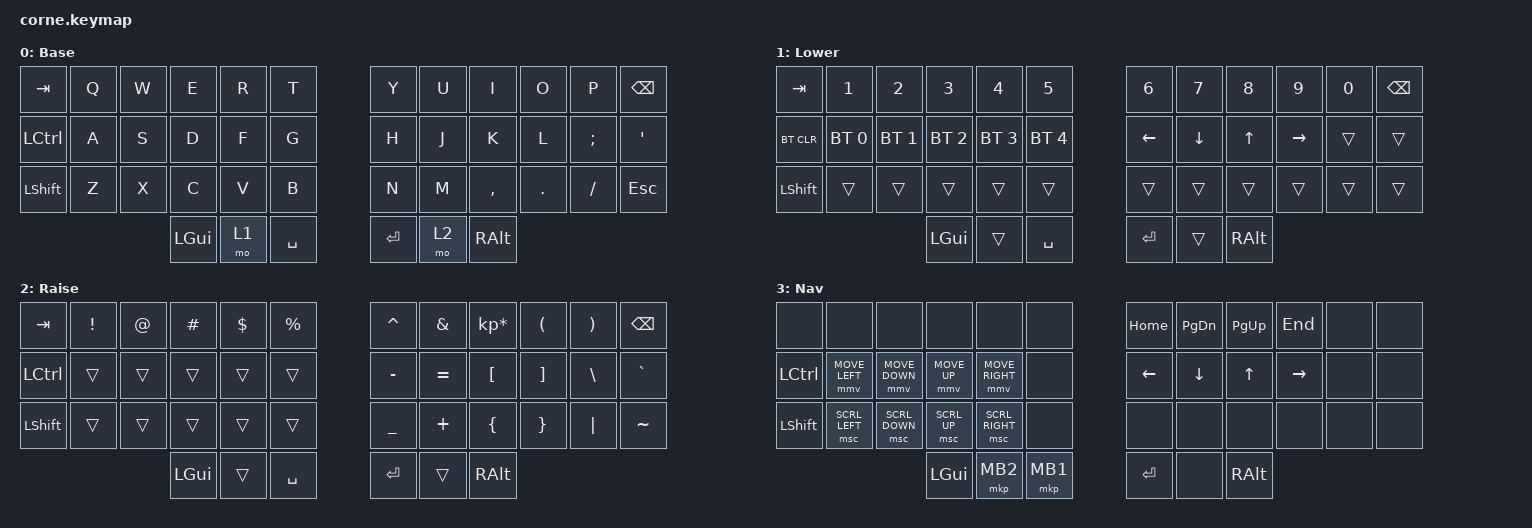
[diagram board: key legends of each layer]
/*
 * Copyright (c) 2020 The ZMK Contributors
 *
 * SPDX-License-Identifier: MIT
 */

#include <dt-bindings/zmk/pointing.h>
#include <behaviors.dtsi>
#include <dt-bindings/zmk/bt.h>
#include <dt-bindings/zmk/keys.h>
#include <dt-bindings/zmk/mouse.h>

/ {
    combos {
        compatible = "zmk,combos";

        combo_esc {
            timeout-ms = <50>;
            key-positions = <37 40>;
            bindings = <&tog 3>;
        };
    };

    keymap {
        compatible = "zmk,keymap";

        default_layer {
            // -----------------------------------------------------------------------------------------
            // |  TAB |  Q  |  W  |  E  |  R  |  T  |   |  Y  |  U   |  I  |  O  |  P  | BKSP |
            // | CTRL |  A  |  S  |  D  |  F  |  G  |   |  H  |  J   |  K  |  L  |  ;  |  '   |
            // | SHFT |  Z  |  X  |  C  |  V  |  B  |   |  N  |  M   |  ,  |  .  |  /  | ESC  |
            //                    | GUI | LWR | SPC |   | ENT | RSE  | ALT |

            display-name = "Base";
            bindings = <
&kp TAB    &kp Q  &kp W  &kp E     &kp R  &kp T        &kp Y    &kp U  &kp I      &kp O    &kp P     &kp BSPC
&kp LCTRL  &kp A  &kp S  &kp D     &kp F  &kp G        &kp H    &kp J  &kp K      &kp L    &kp SEMI  &kp SQT
&kp LSHFT  &kp Z  &kp X  &kp C     &kp V  &kp B        &kp N    &kp M  &kp COMMA  &kp DOT  &kp FSLH  &kp ESC
                         &kp LGUI  &mo 1  &kp SPACE    &kp RET  &mo 2  &kp RALT
            >;
        };

        lower_layer {
            // -----------------------------------------------------------------------------------------
            // |  TAB |  1  |  2  |  3  |  4  |  5  |   |  6  |  7  |  8  |  9  |  0  | BKSP |
            // | BTCLR| BT1 | BT2 | BT3 | BT4 | BT5 |   | LFT | DWN |  UP | RGT |     |      |
            // | SHFT |     |     |     |     |     |   |     |     |     |     |     |      |
            //                    | GUI |     | SPC |   | ENT |     | ALT |

            display-name = "Lower";
            bindings = <
&kp TAB     &kp N1        &kp N2        &kp N3        &kp N4        &kp N5          &kp N6    &kp N7    &kp N8    &kp N9     &kp N0  &kp BSPC
&bt BT_CLR  &bt BT_SEL 0  &bt BT_SEL 1  &bt BT_SEL 2  &bt BT_SEL 3  &bt BT_SEL 4    &kp LEFT  &kp DOWN  &kp UP    &kp RIGHT  &trans  &trans
&kp LSHFT   &trans        &trans        &trans        &trans        &trans          &trans    &trans    &trans    &trans     &trans  &trans
                                        &kp LGUI      &trans        &kp SPACE       &kp RET   &trans    &kp RALT
            >;
        };

        raise_layer {
            // -----------------------------------------------------------------------------------------
            // |  TAB |  !  |  @  |  #  |  $  |  %  |   |  ^  |  &  |  *  |  (  |  )  | BKSP |
            // | CTRL |     |     |     |     |     |   |  -  |  =  |  [  |  ]  |  \  |  `   |
            // | SHFT |     |     |     |     |     |   |  _  |  +  |  {  |  }  | "|" |  ~   |
            //                    | GUI |     | SPC |   | ENT |     | ALT |

            display-name = "Raise";
            bindings = <
&kp TAB    &kp EXCL  &kp AT  &kp HASH  &kp DLLR  &kp PRCNT    &kp CARET  &kp AMPS   &kp KP_MULTIPLY  &kp LPAR  &kp RPAR  &kp BSPC
&kp LCTRL  &trans    &trans  &trans    &trans    &trans       &kp MINUS  &kp EQUAL  &kp LBKT         &kp RBKT  &kp BSLH  &kp GRAVE
&kp LSHFT  &trans    &trans  &trans    &trans    &trans       &kp UNDER  &kp PLUS   &kp LBRC         &kp RBRC  &kp PIPE  &kp TILDE
                             &kp LGUI  &trans    &kp SPACE    &kp RET    &trans     &kp RALT
            >;
        };

        extra_1 {
            // -----------------------------------------------------------------------------------------
            // |  TAB |  !  |  @  |  #  |  $  |  %  |   |  ^  |  &  |  *  |  (  |  )  | BKSP |
            // | CTRL |     |     |     |     |     |   |  -  |  =  |  [  |  ]  |  \  |  `   |
            // | SHFT |     |     |     |     |     |   |  _  |  +  |  {  |  }  | "|" |  ~   |
            //                    | GUI |     | SPC |   | ENT |     | ALT |

            display-name = "Nav";
            bindings = <
&none      &none             &none             &none           &none              &none            &kp HOME   &kp PAGE_DOWN   &kp PAGE_UP  &kp END    &none  &none
&kp LCTRL  &mmv MOVE_LEFT    &mmv MOVE_DOWN    &mmv MOVE_UP    &mmv MOVE_RIGHT    &none            &kp LEFT   &kp DOWN_ARROW  &kp UP       &kp RIGHT  &none  &none
&kp LSHFT  &msc SCRL_LEFT    &msc SCRL_DOWN    &msc SCRL_UP    &msc SCRL_RIGHT    &none            &none      &none           &none       &none       &none  &none
                                               &kp LGUI        &mkp MB2           &mkp MB1         &kp RET    &none           &kp RALT
            >;
        };

        extra_2 { status = "reserved"; };

        extra_3 { status = "reserved"; };
    };
};
